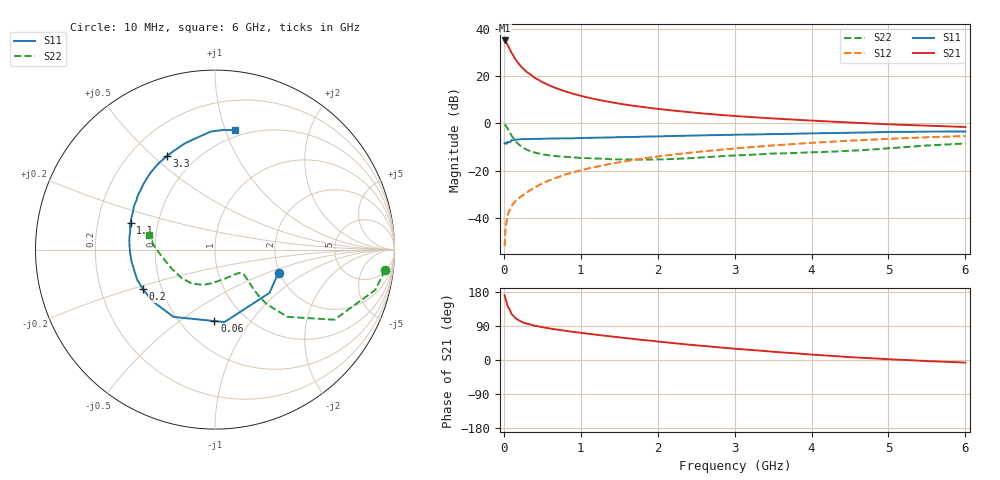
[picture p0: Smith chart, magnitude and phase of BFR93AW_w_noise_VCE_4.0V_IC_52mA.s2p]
! Infineon Technologies  Discrete & RF Semiconductors
! BFR93AW
! VCE =  4.0 V,  IC =  52 mA
! Common Emitter S-Parameters:  Jan 2017
# GHz  S  MA  R  50
!  f  S11  S21  S12  S22
! GHz  MAG  ANG  MAG  ANG  MAG  ANG  MAG  ANG
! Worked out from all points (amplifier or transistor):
!   77 points, 10 MHz to 6 GHz, reference 50 ohm
!   highest |S21| = 35.2 dB at 10 MHz (marker M1)
!   |S21| within 3 dB of that: start of sweep to 66.68 MHz
!   unconditionally stable (mu >= 1): 418.4 MHz to 2.06 GHz
!   at 130 MHz: K = 0.64, MSG = 31.0 dB, |S12| = -33.7 dB
!   at 2.2 GHz: K = 0.99, MSG = 9.3 dB, |S12| = -13.2 dB
!   at 6 GHz: K = 0.90, MSG = 1.9 dB, |S12| = -5.4 dB
!   lowest NFmin = 2.34 dB at 450 MHz
!   S11 on the Smith chart (normalised r, x): 10 MHz: 1.98, -0.59; 60 MHz: 0.72, -0.68; 200 MHz: 0.39, -0.22; 1.1 GHz: 0.35, +0.14; 3.3 GHz: 0.35, +0.55; 6 GHz: 0.44, +1.08
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0.01  0.3764 -19.9  57.22 170.9  0.0025 87.2  0.9552 -6.8
0.02  0.3877 -38.4  55.86 162.6  0.0054 82.8  0.9213 -14.1
0.05  0.4072 -82.5  45.82 141.4  0.0113 63.5  0.7719 -30.4
0.06  0.3981 -90.5  42.6 138.5  0.0126 62.9  0.7253 -32.3
0.1  0.4402 -121.5  31.39 121.1  0.0177 61.4  0.5501 -42.9
0.15  0.4517 -140.5  22.9 110.5  0.0225 61.5  0.4208 -46.5
0.2  0.4582 -151.3  17.8 103.9  0.0265 64.2  0.3497 -46.6
0.25  0.4647 -158.8  14.53 99.1  0.0303 65.3  0.3056 -45.6
0.3  0.4643 -164.0  12.21 95.8  0.0344 66.9  0.275 -44.4
0.4  0.4695 -171.6  9.314 90.5  0.0436 69.4  0.2413 -42.4
0.5  0.4727 -177.2  7.495 86.6  0.0533 71.4  0.2209 -41.3
0.6  0.4761 178.3  6.297 83.1  0.0629 71.7  0.2095 -40.8
0.7  0.4794 174.7  5.415 80.1  0.0721 73.0  0.2014 -41.0
0.9  0.4828 167.9  4.239 74.3  0.0917 72.1  0.1905 -43.2
1.1  0.4941 162.3  3.507 69.3  0.111 71.6  0.183 -46.6
1.5  0.5105 152.6  2.623 59.8  0.1499 69.1  0.1728 -57.5
2.1  0.5349 139.6  1.95 46.8  0.2083 64.2  0.1739 -79.7
3.1  0.5781 120.8  1.402 28.3  0.3034 54.5  0.2122 -113.8
3.3  0.5847 117.3  1.334 25.2  0.3221 52.5  0.2198 -119.5
4.1  0.618 104.3  1.125 13.0  0.3955 43.9  0.2463 -143.1
5.1  0.66 90.7  0.943 1.1  0.4775 32.7  0.3042 -174.5
6  0.6749 80.4  0.839 -6.9  0.5397 22.6  0.3754 167.6
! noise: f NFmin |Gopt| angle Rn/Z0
0.45  2.34  0.27  -177  0.18
0.9  2.64  0.32  -166  0.18
1.9  3.79  0.54  -132  0.44
2.4  4.52  0.58  -122  0.81
